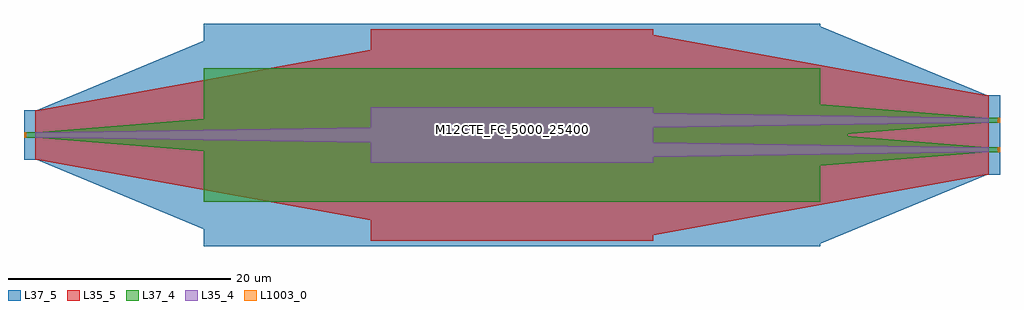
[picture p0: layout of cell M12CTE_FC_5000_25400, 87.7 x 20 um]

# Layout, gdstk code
import gdstk
lib = gdstk.Library(unit=1e-6, precision=1e-09)
def R(c, l, rs):  # rectangles x0, y0, x1, y1
    for r in rs: c.add(gdstk.rectangle(r[:2], r[2:], *l))
def P(c, l, *ps):  # polygons
    for p in ps: c.add(gdstk.Polygon(p, *l))
L35_4 = (35, 4)
L35_5 = (35, 5)
L37_4 = (37, 4)
L37_5 = (37, 5)
L1003_0 = (1003, 0)

m12cte_fc_5000_25400_1 = lib.new_cell('M12CTE_FC_5000_25400_1')
R(m12cte_fc_5000_25400_1, L35_4, [(0,-2.5,25.4,2.5)])
P(m12cte_fc_5000_25400_1, L35_4, [(0,-0.675),(-30,-0.225),(-30.13,-0.225),(-30.13,0.225),(-30,0.225),(0,0.675)],
  [(25.4,-2),(25.4,-0.65),(55.4,-1.1),(55.53,-1.1),(55.53,-1.55),(55.4,-1.55)],
  [(25.4,0.65),(25.4,2),(55.4,1.55),(55.53,1.55),(55.53,1.1),(55.4,1.1)])
R(m12cte_fc_5000_25400_1, L35_5, [(0,-9.5,25.4,9.5)])
P(m12cte_fc_5000_25400_1, L35_5, [(0,-7.675),(-30,-2.225),(-30.13,-2.225),(-30.13,2.225),(-30,2.225),(0,7.675)],
  [(25.4,-9),(25.4,6.35),(55.4,0.9),(55.53,0.9),(55.53,-3.55),(55.4,-3.55)],
  [(25.4,-6.35),(25.4,9),(55.4,3.55),(55.53,3.55),(55.53,-0.9),(55.4,-0.9)])
R(m12cte_fc_5000_25400_1, L37_4, [(40.27,-0.145,42.849,0.145)])
P(m12cte_fc_5000_25400_1, L37_4, [(-15,-1.45),(-30,-0.225),(-30.13,-0.225),(-30.13,0.225),(-30,0.225),(-15,1.45),(-14.87,1.45),(-14.87,-1.45)],
  [(40.27,-2.775),(40.27,0.125),(40.4,0.125),(55.4,-1.1),(55.53,-1.1),(55.53,-1.55),(55.4,-1.55),(40.4,-2.775)],
  [(40.27,-0.125),(40.27,2.775),(40.4,2.775),(55.4,1.55),(55.53,1.55),(55.53,1.1),(55.4,1.1),(40.4,-0.125)])
P(m12cte_fc_5000_25400_1, L37_5, [(-15,-8.45),(-30,-2.225),(-30.13,-2.225),(-30.13,2.225),(-30,2.225),(-15,8.45),(-14.87,8.45),(-14.87,-8.45)],
  [(40.27,-9.775),(40.27,7.125),(40.4,7.125),(55.4,0.9),(55.53,0.9),(55.53,-3.55),(55.4,-3.55),(40.4,-9.775)],
  [(40.27,-7.125),(40.27,9.775),(40.4,9.775),(55.4,3.55),(55.53,3.55),(55.53,-0.9),(55.4,-0.9),(40.4,-7.125)])

m12cte_fc_5000_25400 = lib.new_cell('M12CTE_FC_5000_25400')
R(m12cte_fc_5000_25400, L37_4, [(-15,-6,40.4,6), (55.4,-1.55,56.4,-1.1), (56.4,-1.55,56.55,-1.1), (-31.15,-0.225,-31,0.225), (-31,-0.225,-30,0.225), (55.4,1.1,56.4,1.55), (56.4,1.1,56.55,1.55)])
R(m12cte_fc_5000_25400, L37_5, [(-15,-10,40.4,10), (55.4,-3.55,56.4,0.9), (56.4,-3.55,56.55,0.9), (-31.15,-2.225,-31,2.225), (-31,-2.225,-30,2.225), (55.4,-0.9,56.4,3.55), (56.4,-0.9,56.55,3.55)])
R(m12cte_fc_5000_25400, L1003_0, [(56.35,-1.55,56.4,-1.1), (56.4,-1.55,56.55,-1.1), (-31.15,-0.225,-31,0.225), (-31,-0.225,-30.95,0.225), (56.35,1.1,56.4,1.55), (56.4,1.1,56.55,1.55)])
m12cte_fc_5000_25400.add(gdstk.Reference(m12cte_fc_5000_25400_1, (0,0)))
m12cte_fc_5000_25400.add(gdstk.Label('M12CTE_FC_5000_25400', (12.7,0.5), layer=1002, texttype=0))
m12cte_fc_5000_25400.add(gdstk.Label('ISIPP50G_2_3_0', (12.7,0), layer=1002, texttype=0))
m12cte_fc_5000_25400.add(gdstk.Label('imec_cell', (12.7,-0.5), layer=1002, texttype=0))

lib.write_gds('M12CTE_FC_5000_25400.gds')
